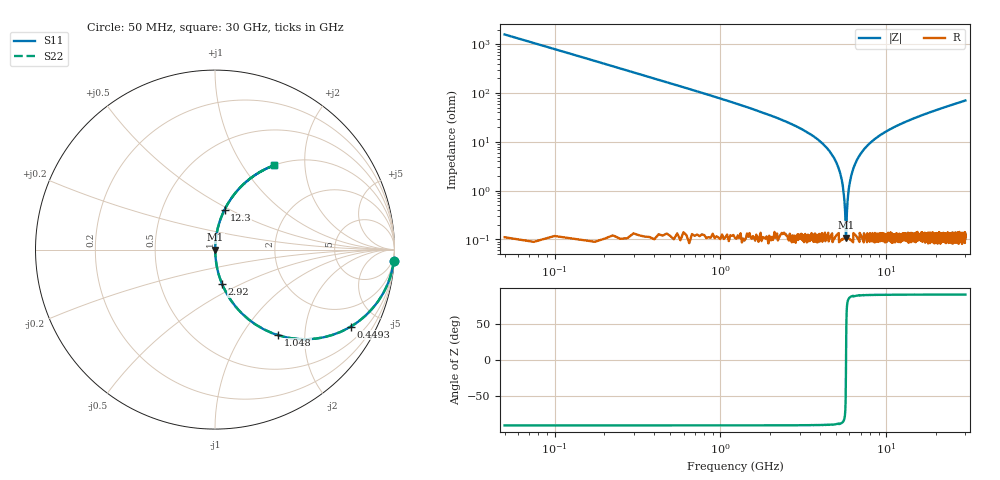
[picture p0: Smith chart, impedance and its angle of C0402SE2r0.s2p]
!	AVX Thin Film Operation 	Date: April 2014
!	Description: Accu-P® Series, Thin Film  SMD RF Capacitor
!	Part Number: 04025J2R0PBSTR
# MHZ S MA R 50
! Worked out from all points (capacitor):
!   1201 points, 50 MHz to 30 GHz, reference 50 ohm
!   read as one part in series: C = 2 pF near 199.8 MHz
!   lowest |Z| = 109 mohm at 5.716 GHz (marker M1)
!   series resonance near 5.721 GHz, so ESL is about 390 pH
!   S11 on the Smith chart (normalised r, x): 50 MHz: 1, -32; 449.3 MHz: 1.00, -3.52; 1.048 GHz: 1.00, -1.47; 2.92 GHz: 1.00, -0.40; 12.3 GHz: 1.00, +0.47; 30 GHz: 1.00, +1.41
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50  0.998 -3.6  0.063 86.4  0.063 86.4  0.998 -3.6
274.625  0.945 -19.1  0.327 70.9  0.327 70.9  0.945 -19.1
449.333  0.869 -29.6  0.494 60.4  0.494 60.4  0.869 -29.6
1048.333  0.591 -53.7  0.806 36.2  0.806 36.2  0.591 -53.7
1772.125  0.376 -67.8  0.926 22.1  0.926 22.1  0.376 -67.8
2920.208  0.197 -78.3  0.979 11.4  0.979 11.4  0.197 -78.3
4243  0.084 -84.4  0.995 4.8  0.995 4.8  0.084 -84.4
5041.667  0.035 -86.2  0.998 2.0  0.998 2.0  0.035 -86.2
5391.083  0.017 -85.2  0.999 0.9  0.999 0.9  0.017 -85.2
5615.708  0.005268 -77.4  0.999 0.3  0.999 0.3  0.005268 -77.4
5715.542  0.001147 -12.6  0.999 0.0  0.999 0.0  0.001147 -12.6
5815.375  0.004697 76.0  0.999 -0.3  0.999 -0.3  0.004697 76.0
5965.125  0.012 83.8  0.999 -0.7  0.999 -0.7  0.012 83.8
6114.875  0.019 85.5  0.999 -1.1  0.999 -1.1  0.019 85.5
6788.75  0.048 85.9  0.998 -2.7  0.998 -2.7  0.048 85.9
8111.542  0.099 83.7  0.994 -5.7  0.994 -5.7  0.099 83.7
10058.29  0.163 80.2  0.986 -9.4  0.986 -9.4  0.163 80.2
12304.54  0.228 76.5  0.973 -13.2  0.973 -13.2  0.228 76.5
15025  0.298 72.5  0.954 -17.3  0.954 -17.3  0.298 72.5
20016.67  0.408 65.8  0.912 -24.1  0.912 -24.1  0.408 65.8
25033.29  0.499 59.9  0.865 -30.0  0.865 -30.0  0.499 59.9
30000  0.575 54.8  0.817 -35.1  0.817 -35.1  0.575 54.8
